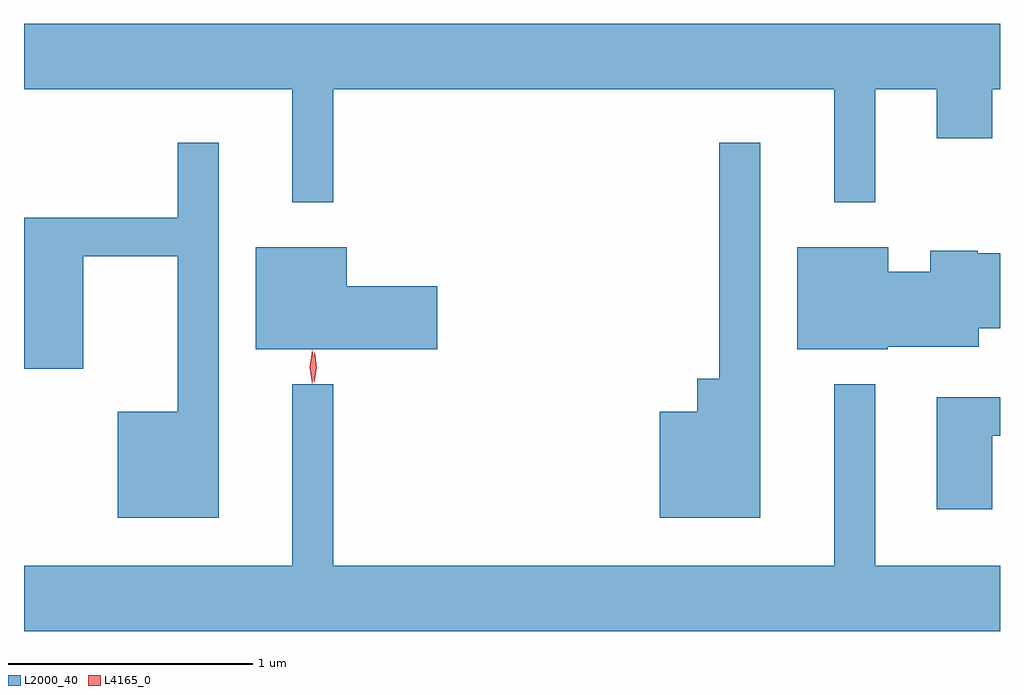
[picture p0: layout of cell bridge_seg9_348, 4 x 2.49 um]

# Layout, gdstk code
import gdstk
lib = gdstk.Library(unit=1e-6, precision=1e-09)
def P(c, l, *ps):  # polygons
    for p in ps: c.add(gdstk.Polygon(p, *l))
L2000_40 = (2000, 40)
L4165_0 = (4165, 0)

bridge_seg9_348 = lib.new_cell('bridge_seg9_348')
P(bridge_seg9_348, L2000_40, [(747.499,1947.416),(749.551,1947.416),(749.551,1946.953),(749.719,1946.953),(749.719,1947.416),(749.971,1947.416),(749.971,1947.216),(750.199,1947.216),(750.199,1947.416),(750.231,1947.416),(750.231,1947.684),(746.231,1947.684),(746.231,1947.416),(747.331,1947.416),(747.331,1946.953),(747.499,1946.953)],
  [(747.029,1947.198),(746.861,1947.198),(746.861,1946.889),(746.231,1946.889),(746.231,1946.271),(746.474,1946.271),(746.474,1946.731),(746.861,1946.731),(746.861,1946.094),(746.616,1946.094),(746.616,1945.661),(747.029,1945.661)],
  [(749.249,1947.198),(749.081,1947.198),(749.081,1946.229),(748.991,1946.229),(748.991,1946.094),(748.836,1946.094),(748.836,1945.661),(749.249,1945.661)],
  [(749.77,1946.361),(750.144,1946.361),(750.144,1946.436),(750.231,1946.436),(750.231,1946.744),(750.14,1946.744),(750.14,1946.754),(749.946,1946.754),(749.946,1946.669),(749.774,1946.669),(749.774,1946.769),(749.401,1946.769),(749.401,1946.351),(749.77,1946.351)],
  [(747.924,1946.609),(747.554,1946.609),(747.554,1946.769),(747.181,1946.769),(747.181,1946.351),(747.924,1946.351)],
  [(750.231,1945.464),(749.719,1945.464),(749.719,1946.208),(749.551,1946.208),(749.551,1945.464),(747.499,1945.464),(747.499,1946.208),(747.331,1946.208),(747.331,1945.464),(746.231,1945.464),(746.231,1945.196),(750.231,1945.196)],
  [(750.199,1945.996),(750.231,1945.996),(750.231,1946.154),(749.971,1946.154),(749.971,1945.696),(750.199,1945.696)])
P(bridge_seg9_348, L4165_0, [(747.412,1946.21),(747.412,1946.21),(747.402,1946.278),(747.412,1946.346),(747.412,1946.346),(747.412,1946.346),(747.422,1946.278),(747.413,1946.21)],
  [(747.42,1946.213),(747.42,1946.213),(747.411,1946.276),(747.422,1946.339),(747.422,1946.34),(747.422,1946.339),(747.431,1946.276),(747.421,1946.213)])

lib.write_gds('bridge_seg9_348.gds')
